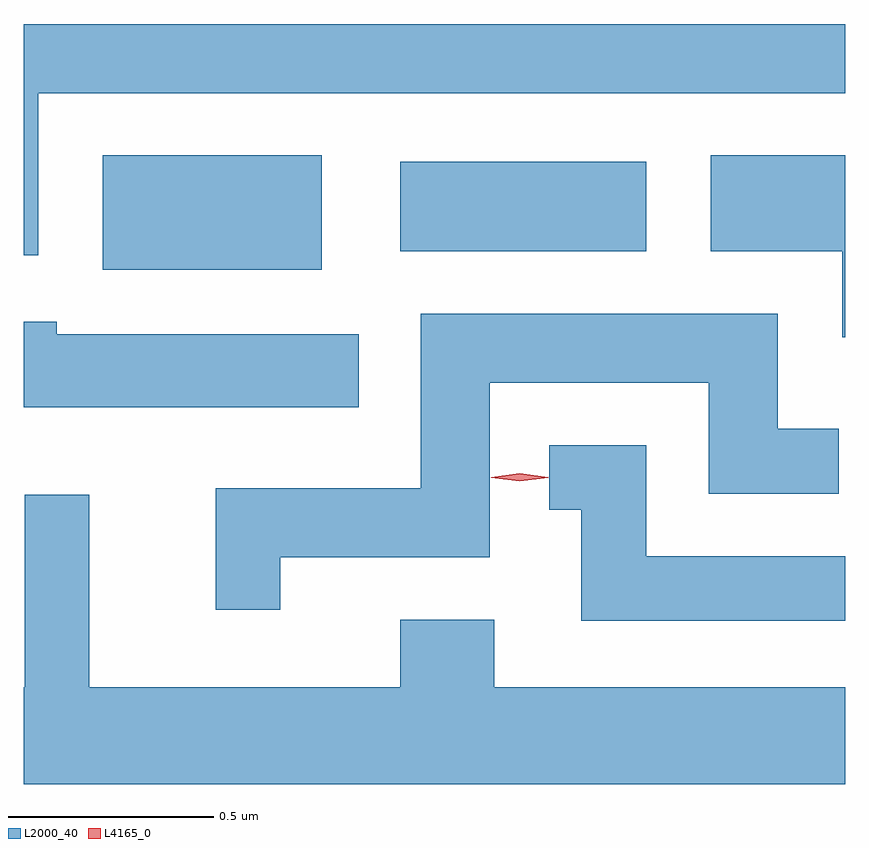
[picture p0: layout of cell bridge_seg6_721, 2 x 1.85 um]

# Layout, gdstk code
import gdstk
lib = gdstk.Library(unit=1e-6, precision=1e-09)
def R(c, l, rs):  # rectangles x0, y0, x1, y1
    for r in rs: c.add(gdstk.rectangle(r[:2], r[2:], *l))
def P(c, l, *ps):  # polygons
    for p in ps: c.add(gdstk.Polygon(p, *l))
L2000_40 = (2000, 40)
L4165_0 = (4165, 0)

bridge_seg6_721 = lib.new_cell('bridge_seg6_721')
R(bridge_seg6_721, L2000_40, [(311.466,1546.881,311.999,1547.159), (312.191,1546.926,312.789,1547.144)])
P(bridge_seg6_721, L2000_40, [(311.309,1547.311),(313.274,1547.311),(313.274,1547.479),(311.274,1547.479),(311.274,1546.916),(311.309,1546.916)],
  [(313.274,1547.159),(312.946,1547.159),(312.946,1546.926),(313.266,1546.926),(313.266,1546.716),(313.274,1546.716)],
  [(311.899,1546.181),(312.409,1546.181),(312.409,1546.606),(312.941,1546.606),(312.941,1546.336),(313.258,1546.336),(313.258,1546.494),(313.109,1546.494),(313.109,1546.774),(312.241,1546.774),(312.241,1546.349),(311.741,1546.349),(311.741,1546.053),(311.899,1546.053)],
  [(312.089,1546.724),(311.354,1546.724),(311.354,1546.754),(311.274,1546.754),(311.274,1546.546),(312.089,1546.546)],
  [(313.274,1546.184),(312.789,1546.184),(312.789,1546.454),(312.553,1546.454),(312.553,1546.296),(312.631,1546.296),(312.631,1546.026),(313.274,1546.026)],
  [(313.274,1545.864),(312.419,1545.864),(312.419,1546.029),(312.191,1546.029),(312.191,1545.864),(311.434,1545.864),(311.434,1546.333),(311.276,1546.333),(311.276,1545.864),(311.274,1545.864),(311.274,1545.629),(313.274,1545.629)])
P(bridge_seg6_721, L4165_0, [(312.481,1546.366),(312.412,1546.375),(312.412,1546.376),(312.412,1546.376),(312.481,1546.385),(312.551,1546.376),(312.551,1546.375),(312.551,1546.374)])

lib.write_gds('bridge_seg6_721.gds')
